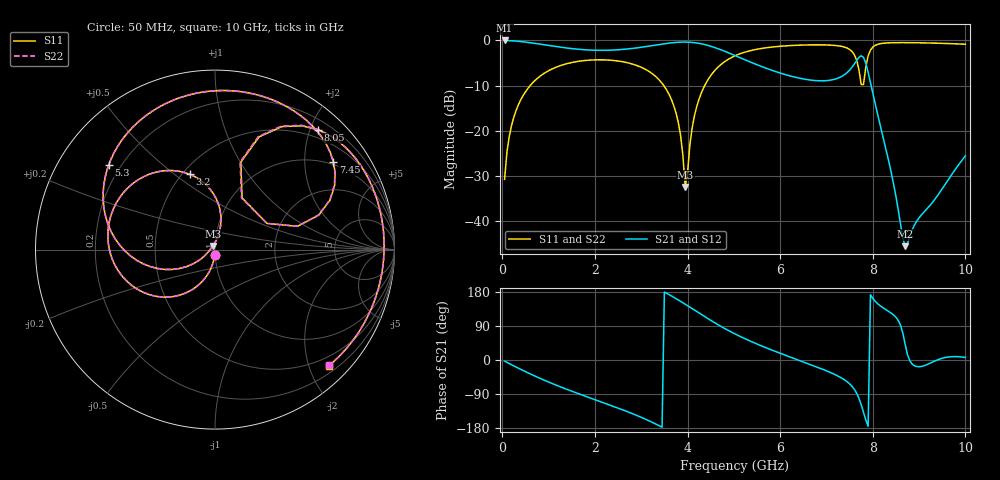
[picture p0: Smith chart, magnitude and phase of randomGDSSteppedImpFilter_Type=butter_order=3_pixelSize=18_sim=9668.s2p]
! freq	dB(S11)	phase(S11)	dB(S12)	phase(S12)
!  dB(S21)	phase(S21)	dB(S22)	phase(S22)
!S-par simulation data
#  GHz  S  DB  R 50
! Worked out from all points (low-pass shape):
!   200 points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, 50 MHz to 10 GHz, reference 50 ohm
!   highest |S21| = -0.01 dB at 50 MHz (marker M1); lowest = -45.6 dB at 8.7 GHz (marker M2)
!   |S21| within 3 dB of the highest: start of sweep to 4.946 GHz
!   lowest |S11| = -32.4 dB at 3.95 GHz (marker M3), VSWR 1.05, Z = 48.8 + j2.03 ohm
!   |S11| at or under -10 dB: start of sweep to 601.8 MHz; 3.487 GHz to 4.371 GHz (884.7 MHz wide, 22.5 % of centre)
!   |S22| runs from -32.4 to -0.5 dB; largest |S21 - S12| = 0
!   S11 on the Smith chart (normalised r, x): 50 MHz: 1.00, -0.06; 3.2 GHz: 0.55, +0.57; 5.3 GHz: 0.15, +0.34; 7.45 GHz: 0.92, +2.76; 8.05 GHz: 0.36, +2.13; 10 GHz: 0.32, -2.34
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0.05  -30.75 -93.3  -0.01 -3.2  -0.01 -3.2  -30.75 -93.3
0.2  -18.83 -103.0  -0.08 -12.6  -0.08 -12.6  -18.83 -103.0
0.5  -11.38 -121.3  -0.37 -30.7  -0.37 -30.7  -11.38 -121.3
1.75  -4.49 176.0  -2.05 -93.5  -2.05 -93.5  -4.49 176.0
3.2  -7.09 108.5  -1.21 -162.3  -1.21 -162.3  -7.09 108.6
3.4  -8.89 97.2  -0.89 -174.2  -0.89 -174.2  -8.88 97.3
3.8  -18.14 76.2  -0.41 158.5  -0.41 158.5  -18.13 76.4
3.95  -32.43 119.3  -0.37 147.2  -0.37 147.2  -32.36 119.6
4.1  -19.35 -146.0  -0.45 135.6  -0.45 135.6  -19.34 -146.0
4.3  -11.58 -155.2  -0.76 120.0  -0.76 120.0  -11.58 -155.1
5.05  -3.29 155.6  -3.46 67.3  -3.46 67.3  -3.29 155.7
5.3  -2.42 141.5  -4.55 52.8  -4.55 52.8  -2.42 141.6
6  -1.30 107.2  -7.22 17.8  -7.22 17.8  -1.30 107.4
6.7  -0.98 76.0  -8.84 -14.1  -8.84 -14.1  -0.98 76.2
7.45  -1.71 36.5  -7.08 -57.8  -7.08 -57.8  -1.71 36.7
7.7  -6.42 15.7  -3.78 -100.6  -3.78 -100.6  -6.44 15.9
7.8  -9.76 62.4  -3.76 -138.3  -3.76 -138.3  -9.80 62.8
7.9  -3.41 68.6  -7.08 -174.9  -7.08 -174.9  -3.42 69.0
8.05  -1.11 49.3  -13.95 155.3  -13.95 155.3  -1.11 49.7
8.35  -0.54 27.4  -26.97 127.7  -26.97 127.7  -0.54 27.7
8.7  -0.49 9.8  -45.55 41.0  -45.55 41.0  -0.49 10.2
10  -0.85 -45.7  -25.55 6.7  -25.55 6.7  -0.85 -45.3
